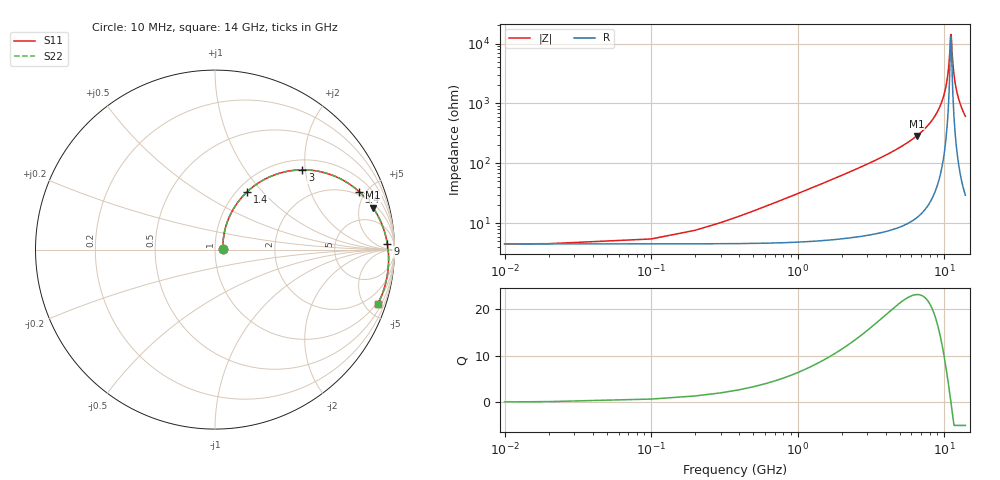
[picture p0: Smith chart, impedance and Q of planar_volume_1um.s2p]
! Created with skrf 1.12.0 (http://scikit-rf.org).
# GHz S DB R 50.0
!freq dBS11 angS11 dBS21 angS21 dBS12 angS12 dBS22 angS22
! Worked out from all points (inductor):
!   142 points, 10 MHz to 14 GHz, reference 50 ohm
!   read as one part in series: L = 4.87 nH near 500 MHz
!   highest Q = 23.2 at 6.5 GHz (marker M1), where L = 6.98 nH
!   self-resonance near 11.1 GHz
!   S11 on the Smith chart (normalised r, x): 10 MHz: 1.09, +0.01; 1.4 GHz: 1.11, +0.83; 3 GHz: 1.23, +1.93; 5.4 GHz: 1.75, +4.51; 9 GHz: 30, +25; 14 GHz: 0.85, -6.07
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0.01  -27.28 3.4  -0.38 -0.2  -0.38 -0.2  -27.28 3.4
0.4  -18.59 62.7  -0.47 -7.1  -0.47 -7.1  -18.59 62.6
0.6  -15.39 66.1  -0.56 -10.5  -0.56 -10.5  -15.39 66.1
1.4  -8.62 60.8  -1.16 -23.4  -1.16 -23.4  -8.62 60.8
2.4  -4.90 49.0  -2.34 -37.2  -2.34 -37.2  -4.90 49.0
3  -3.62 42.4  -3.21 -44.3  -3.21 -44.3  -3.62 42.4
4.7  -1.68 27.1  -6.10 -60.4  -6.10 -60.4  -1.68 27.1
5.4  -1.25 21.9  -7.45 -65.7  -7.45 -65.7  -1.25 21.9
6.5  -0.81 14.9  -9.81 -72.8  -9.81 -72.8  -0.81 14.9
7.1  -0.64 11.4  -11.27 -76.2  -11.27 -76.2  -0.65 11.4
9  -0.35 1.9  -17.45 -84.7  -17.45 -84.7  -0.35 1.9
9.4  -0.31 0.1  -19.36 -86.0  -19.36 -86.0  -0.31 0.1
10  -0.28 -2.6  -23.15 -86.9  -23.15 -86.9  -0.28 -2.6
10.5  -0.26 -4.7  -28.14 -85.0  -28.14 -85.0  -0.26 -4.7
10.8  -0.26 -5.9  -33.27 -78.7  -33.27 -78.7  -0.26 -5.9
11.1  -0.26 -7.2  -43.02 -33.6  -43.02 -33.6  -0.26 -7.2
11.2  -0.26 -7.6  -43.31 15.2  -43.31 15.2  -0.26 -7.6
11.4  -0.26 -8.4  -36.22 57.8  -36.22 57.8  -0.26 -8.4
11.7  -0.26 -9.6  -29.97 69.2  -29.97 69.2  -0.26 -9.6
12.1  -0.27 -11.1  -25.39 72.3  -25.39 72.3  -0.27 -11.2
12.6  -0.29 -13.1  -21.84 72.5  -21.84 72.5  -0.29 -13.1
14  -0.38 -18.4  -16.24 69.1  -16.24 69.1  -0.38 -18.4
